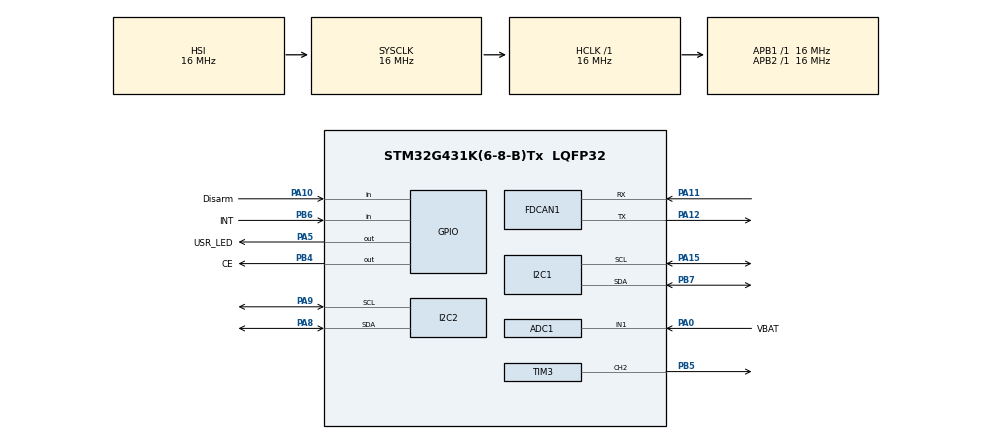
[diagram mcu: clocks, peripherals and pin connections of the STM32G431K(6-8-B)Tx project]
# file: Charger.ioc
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ADC1.Channel-0\#ChannelRegularConversion=ADC_CHANNEL_1
ADC1.NbrOfConversionFlag=1
ADC1.OffsetNumber-0\#ChannelRegularConversion=ADC_OFFSET_NONE
ADC1.Rank-0\#ChannelRegularConversion=1
ADC1.SamplingTime-0\#ChannelRegularConversion=ADC_SAMPLETIME_247CYCLES_5
ADC1.master=1
FDCAN1.CalculateBaudRateNominal=333333
FDCAN1.CalculateTimeBitNominal=3000
FDCAN1.CalculateTimeQuantumNominal=1000.0
I2C1.Timing=0x00503D58
I2C2.Timing=0x00503D58
Mcu.Family=STM32G4
Mcu.Name=STM32G431K(6-8-B)Tx
Mcu.Package=LQFP32
NVIC.PriorityGroup=NVIC_PRIORITYGROUP_4
PA0.GPIO_Label=VBAT
PA0.Mode=IN1-Single-Ended
PA0.Signal=ADC1_IN1
PA10.GPIO_Label=Disarm
PA10.Signal=GPIO_Input
PA11.Mode=FDCAN_Activate
PA11.Signal=FDCAN1_RX
PA12.Mode=FDCAN_Activate
PA12.Signal=FDCAN1_TX
PA13.Mode=Trace_Asynchronous_SW
PA13.Signal=SYS_JTMS-SWDIO
PA14.Mode=Trace_Asynchronous_SW
PA14.Signal=SYS_JTCK-SWCLK
PA15.Mode=I2C
PA15.Signal=I2C1_SCL
PA5.GPIO_Label=USR_LED
PA5.PinState=GPIO_PIN_RESET
PA5.Signal=GPIO_Output
PA8.Mode=I2C
PA8.Signal=I2C2_SDA
PA9.Mode=I2C
PA9.Signal=I2C2_SCL
PB3.Mode=Trace_Asynchronous_SW
PB3.Signal=SYS_JTDO-SWO
PB4.GPIO_Label=CE
PB4.Signal=GPIO_Output
PB5.Signal=S_TIM3_CH2
PB6.GPIO_Label=INT
PB6.Signal=GPIO_Input
PB7.Mode=I2C
PB7.Signal=I2C1_SDA
PF0-OSC_IN.Mode=HSE-External-Oscillator
PF0-OSC_IN.Signal=RCC_OSC_IN
PF1-OSC_OUT.Mode=HSE-External-Oscillator
PF1-OSC_OUT.Signal=RCC_OSC_OUT
ProjectManager.HeapSize=0x200
ProjectManager.StackSize=0x400
ProjectManager.TargetToolchain=CMake
RCC.AHBFreq_Value=16000000
RCC.APB1Freq_Value=16000000
RCC.APB1TimFreq_Value=16000000
RCC.APB2Freq_Value=16000000
RCC.APB2TimFreq_Value=16000000
RCC.CortexFreq_Value=16000000
RCC.EXTERNAL_CLOCK_VALUE=12288000
RCC.HCLKFreq_Value=16000000
RCC.HSE_VALUE=8000000
RCC.HSI48_VALUE=48000000
RCC.HSI_VALUE=16000000
RCC.LSE_VALUE=32768
RCC.SYSCLKFreq_VALUE=16000000
RCC.USBFreq_Value=64000000
RCC.VCOOutputFreq_Value=128000000
SH.S_TIM3_CH2.0=TIM3_CH2,PWM Generation2 CH2
TIM3.Channel-PWM\ Generation2\ CH2=TIM_CHANNEL_2
VP_SYS_VS_DBSignals.Mode=DisableDeadBatterySignals
VP_TIM3_VS_ClockSourceINT.Mode=Internal
board=custom

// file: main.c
/* USER CODE BEGIN Header */
/**
  ******************************************************************************
  * @file           : main.c
  * @brief          : Main program body
  ******************************************************************************
  * @attention
  *
  * Copyright (c) 2026 STMicroelectronics.
  * All rights reserved.
  *
  * This software is licensed under terms that can be found in the LICENSE file
  * in the root directory of this software component.
  * If no LICENSE file comes with this software, it is provided AS-IS.
  *
  ******************************************************************************
  */
/* USER CODE END Header */
#include "main.h"
#include "adc.h"
#include "fdcan.h"
#include "i2c.h"
#include "stm32g4xx_hal.h"
#include "tim.h"
#include "gpio.h"

/* USER CODE BEGIN Includes */
#include "startup_songs.h"
#include "charger.h"
#include <stdint.h>
/* USER CODE END Includes */

void SystemClock_Config(void);

/* USER CODE BEGIN 0 */

volatile uint16_t vbat_raw = 0;
volatile float vbat_divider_voltage = 0;
volatile float vbat_voltage = 0;

uint16_t vbat_BQ;
uint16_t vsys;
uint16_t vfb;
uint16_t vac;
int16_t ibat;
int16_t iac;

void DISARM_Activate(void)
{
    GPIO_InitTypeDef GPIO_InitStruct = {0};

    // Sett som output, push-pull, low
    GPIO_InitStruct.Pin = Disarm_Pin;
    GPIO_InitStruct.Mode = GPIO_MODE_OUTPUT_PP;
    GPIO_InitStruct.Pull = GPIO_NOPULL;
    GPIO_InitStruct.Speed = GPIO_SPEED_FREQ_LOW;
    HAL_GPIO_Init(Disarm_GPIO_Port, &GPIO_InitStruct);
    HAL_GPIO_WritePin(Disarm_GPIO_Port, Disarm_Pin, GPIO_PIN_RESET);
}

void DISARM_Release(void)
{
    GPIO_InitTypeDef GPIO_InitStruct = {0};

    // Tilbake til High-Z
    GPIO_InitStruct.Pin = Disarm_Pin;
    GPIO_InitStruct.Mode = GPIO_MODE_INPUT;
    GPIO_InitStruct.Pull = GPIO_NOPULL;
    HAL_GPIO_Init(Disarm_GPIO_Port, &GPIO_InitStruct);
}

/* USER CODE END 0 */

int main(void)
{

  /* MCU Configuration--------------------------------------------------------*/

  /* Reset of all peripherals, Initializes the Flash interface and the Systick. */
  HAL_Init();

  /* Configure the system clock */
  SystemClock_Config();

  /* Initialize all configured peripherals */
  MX_GPIO_Init();
  MX_ADC1_Init();
  MX_FDCAN1_Init();
  MX_I2C1_Init();
  MX_I2C2_Init();
  MX_TIM3_Init();
  /* USER CODE BEGIN 2 */
  HAL_ADCEx_Calibration_Start(&hadc1, ADC_SINGLE_ENDED); // Kalibrer ADC
  HAL_TIM_PWM_Start(&htim3, TIM_CHANNEL_2);

  /* USER CODE END 2 */

  /* Infinite loop */
  while (1)
  {

    /* USER CODE BEGIN 3 */

    /* Start ADC */
    HAL_ADC_Start(&hadc1);
    HAL_ADC_PollForConversion(&hadc1, HAL_MAX_DELAY);
    vbat_raw = HAL_ADC_GetValue(&hadc1);
    HAL_ADC_Stop(&hadc1);

    /* Konverter til spenning (eksempel 3.3V referanse, 12-bit ADC) */
    vbat_divider_voltage = (3.292f * vbat_raw) / 4095.0f;
    vbat_voltage = vbat_divider_voltage * (68000 + 22000)/22000; // Spenningsdeler 68k og 22k);
    HAL_Delay(1000);
    DISARM_Activate();
    HAL_Delay(5000);
    DISARM_Release();
    HAL_Delay(1000);
  }
  /* USER CODE END 3 */
}

void SystemClock_Config(void)
{
  RCC_OscInitTypeDef RCC_OscInitStruct = {0};
  RCC_ClkInitTypeDef RCC_ClkInitStruct = {0};

  /** Configure the main internal regulator output voltage
  */
  HAL_PWREx_ControlVoltageScaling(PWR_REGULATOR_VOLTAGE_SCALE1);

  /** Initializes the RCC Oscillators according to the specified parameters
  * in the RCC_OscInitTypeDef structure.
  */
  RCC_OscInitStruct.OscillatorType = RCC_OSCILLATORTYPE_HSI;
  RCC_OscInitStruct.HSIState = RCC_HSI_ON;
  RCC_OscInitStruct.HSICalibrationValue = RCC_HSICALIBRATION_DEFAULT;
  RCC_OscInitStruct.PLL.PLLState = RCC_PLL_NONE;
  if (HAL_RCC_OscConfig(&RCC_OscInitStruct) != HAL_OK)
  {
    Error_Handler();
  }

  /** Initializes the CPU, AHB and APB buses clocks
  */
  RCC_ClkInitStruct.ClockType = RCC_CLOCKTYPE_HCLK|RCC_CLOCKTYPE_SYSCLK
                              |RCC_CLOCKTYPE_PCLK1|RCC_CLOCKTYPE_PCLK2;
  RCC_ClkInitStruct.SYSCLKSource = RCC_SYSCLKSOURCE_HSI;
  RCC_ClkInitStruct.AHBCLKDivider = RCC_SYSCLK_DIV1;
  RCC_ClkInitStruct.APB1CLKDivider = RCC_HCLK_DIV1;
  RCC_ClkInitStruct.APB2CLKDivider = RCC_HCLK_DIV1;

  if (HAL_RCC_ClockConfig(&RCC_ClkInitStruct, FLASH_LATENCY_0) != HAL_OK)
  {
    Error_Handler();
  }
}

void Error_Handler(void)
{
  __disable_irq();
  while (1)
  {
  }
}
